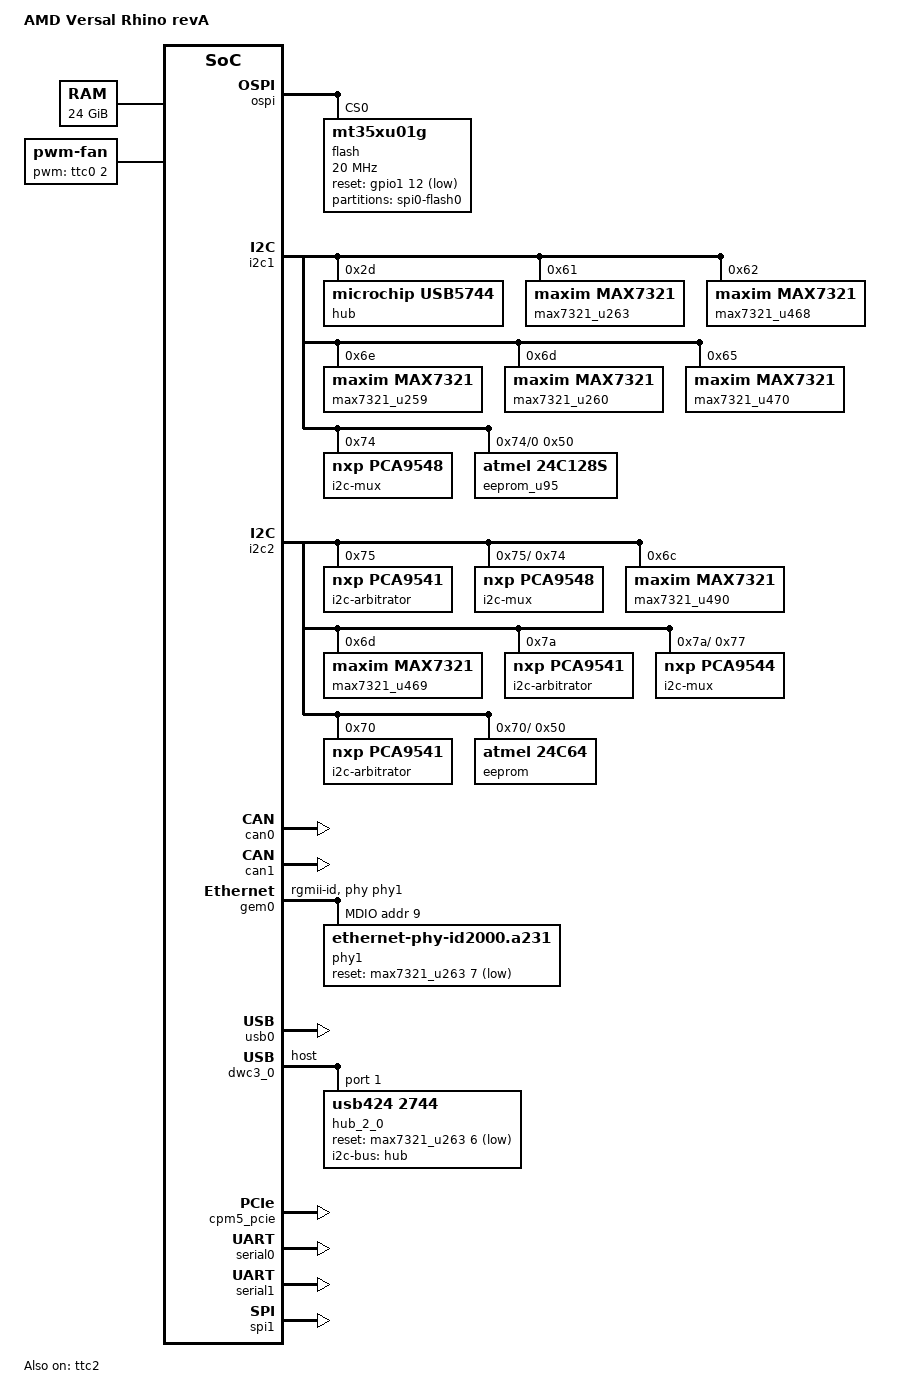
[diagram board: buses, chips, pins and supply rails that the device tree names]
// SPDX-License-Identifier: GPL-2.0
/*
 * dts file for AMD Versal Rhino revA
 *
 * (C) Copyright 2024, Advanced Micro Devices, Inc
 *
 * Michal Simek <michal.simek@amd.com>
 */

#include <dt-bindings/gpio/gpio.h>
#include "versal.dtsi"
#include "versal-clk.dtsi"

/ {
	compatible = "amd,versal-rhino-revA", "xlnx,versal";
	model = "AMD Versal Rhino revA";

	memory: memory@0 {
		device_type = "memory";
		reg = <0 0 0 0x80000000>, <0x500 0x80000000 0x1 0x80000000>, <0x580 0 0x4 0>; /* 24GB */
	};

	chosen {
		bootargs = "console=ttyAMA0 earlycon=pl011,mmio32,0xFF000000,115200n8";
		stdout-path = "serial0:115200";
	};

	aliases {
		serial0 = &serial0;
		serial1 = &serial1;
		ethernet0 = &gem0;
		i2c1 = &i2c1;
		i2c2 = &i2c2;
		spi0 = &ospi;
		usb0 = &usb0;
	};

	pwm-fan {
		compatible = "pwm-fan";
		status = "okay";
		pwms = <&ttc0 2 40000 0>;
	};
};

&ospi { /* PMC MIO0-10, 12, U43 MT35XU01G */
	status = "okay";
	bus-num = <2>;
	num-cs = <1>;
	#stream-id-cells = <1>;
	#address-cells = <1>;
	#size-cells = <0>;

	flash@0 {
		compatible = "mt35xu01g", "micron,m25p80", "jedec,spi-nor";
		reg = <0>;
		#address-cells = <1>;
		#size-cells = <1>;
		cdns,read-delay = <0>;
		cdns,tshsl-ns = <0>;
		cdns,tsd2d-ns = <0>;
		cdns,tchsh-ns = <1>;
		cdns,tslch-ns = <1>;
		spi-tx-bus-width = <8>;
		spi-rx-bus-width = <8>;
		spi-max-frequency = <20000000>;
		no-wp;
		reset-gpios = <&gpio1 12 GPIO_ACTIVE_LOW>;
		partition@0 {
			label = "spi0-flash0";
			reg = <0 0x8000000>;
		};
	};
};

/* lpd i2c1 */
&i2c1 { /* PMC_MIO 32-33 */
	status = "okay";

	hub: usb-hub@2d {
		compatible = "microchip,usb5744";
		reg = <0x2d>;
	};

	max7321_u263: gpio@61 { /* u263 */
		compatible = "maxim,max7321";
		reg = <0x61>;
		gpio-controller; /* interrupt connected to APU_INT shared line */
		#gpio-cells = <2>;
		gpio-line-names = "PCI_SWITCH_RESET_N", "PCI_SWITCH_FATAL_ERROR_N", "PCIE_SWITCH_I2C_SMBUS_CFG", "SD_CTRLR_RESET_B", /* 0 - 3 */
				"VE_NSW_RST_B", "ADSP_HWRST_B", "USB_HUB_RESET", "LPMIO_RGMII_PHYRST_B"; /* 4 - 7 */
	};

	max7321_u468: gpio@62 { /* u468 */
		compatible = "maxim,max7321";
		reg = <0x62>;
		gpio-controller; /* interrupt connected to APU_INT shared line */
		#gpio-cells = <2>;
		gpio-line-names = "5SPHY_VE10G2_SPEED0", "5SPHY_VE10G2_SPEED1", "5SPHY_VE10G3_SPEED0", "5SPHY_VE10G3_SPEED1", /* 0 - 3 */
				  "5SPHY_P12NSW_SPEED0", "5SPHY_P12NSW_SPEED1", "5SPHY_P13NSW_SPEED0", "5SPHY_P13NSW_SPEED1"; /* 4 - 7 */
	};

	max7321_u259: gpio@6e { /* u259 */
		compatible = "maxim,max7321";
		reg = <0x6e>;
		gpio-controller; /* interrupt connected to APU_INT shared line */
		#gpio-cells = <2>;
		gpio-line-names = "FMCP1_FMC_PRSNT_M2C", "FMCP1_FMCP_PRSNT_M2C", "CANFD0_nSTB", "CANFD1_nSTB", /* 0 - 3 */
				  "A2B_VE0_GPIO7", "A2B_VE1_GPIO7", "NSW_INTR_B", "NSW_RSTOUT_B"; /* 4 - 7 */
	};

	max7321_u260: gpio@6d { /* u260 */
		compatible = "maxim,max7321";
		reg = <0x6d>;
		gpio-controller; /* interrupt connected to APU_INT shared line */
		#gpio-cells = <2>;
		gpio-line-names = "M.2_2230_CLK_REQ", "M.2_2230_PCI_WAKE", "M.2_2230_PCIE_RST", "M.2_2230_BT_DISABLE", /* 0 - 3 */
				  "M.2_2230_WIFI_DISABLE", "WLAN_WIFI_RST", "M.2_I2C_ALERT", "VE_M.2_2230_UART_WAKE"; /* 4 - 7 */
	};

	max7321_u470: gpio@65 { /* u470 */
		compatible = "maxim,max7321";
		reg = <0x65>;
		gpio-controller; /* interrupt connected to APU_INT shared line */
		#gpio-cells = <2>;
		gpio-line-names = "M.2_2280_CLK_REQ", "M.2_2280_PCI_WAKE", "M.2_2280_PCIE_RST", "OCULINK_CR_PRSNT", /* 0 - 3 */
				  "OCULINK_PCIE_RST", "OCULINK_WAKE", "OCULINK_BT_TYPE", "OCULINK_VSP_1"; /* 4 - 7 */
	};

	i2c-mux@74 { /* u257 */
		compatible = "nxp,pca9548";
		#address-cells = <1>;
		#size-cells = <0>;
		reg = <0x74>;
		/* reset-gpios = <&gpio SYSCTLR_IIC_MUX0_RESET_B GPIO_ACTIVE_HIGH>; */
		i2c@0 {
			#address-cells = <1>;
			#size-cells = <0>;
			reg = <0>;
			/* 0x5b TMDS1204RNOR u76 */
			/* 0x6c 8t49n241 u94 */

			eeprom_u95: eeprom@50 { /* u95 */
				compatible = "atmel,24c128S";
				reg = <0x50>;
			};
		};
		i2c@1 {
			#address-cells = <1>;
			#size-cells = <0>;
			reg = <1>;
			/* FMC */
		};
		i2c@2 {
			#address-cells = <1>;
			#size-cells = <0>;
			reg = <2>;
			/* DISP_CON3_TOUCH */
		};
		/* NC 3-8 */
	};

	/* 0x38 - PEX 8724 U27C */
};

/* pmc i2c */
&i2c2 { /* PMC_MIO 50-51 */
	status = "okay";
	
	i2c-arbitrator@75 { /* u261 */
		compatible = "nxp,pca9541";
		reg = <0x75>;

		i2c-arb {
			#address-cells = <1>;
			#size-cells = <0>;

			/* 0x42 ina237a u459 */

			i2c-mux@74 { /* u262 */
				compatible = "nxp,pca9548";
				#address-cells = <1>;
				#size-cells = <0>;
				reg = <0x74>;
				i2c@0 {
					#address-cells = <1>;
					#size-cells = <0>;
					reg = <0>;
					/* apu_pmbus */
					/* u206 mpq2286 */
					/* u448 mpq2286 0x4 */
					/* u488 mpq2286 0x5 */
					/* u406 mpq29125 0x11 */
				};
				i2c@1 {
					#address-cells = <1>;
					#size-cells = <0>;
					reg = <1>;
					/* apu_seq_mon */
					/* u393 mpq79700 0x3d */
					/* u394 mpq79500 0x34 */
				};
				i2c@2 {
					#address-cells = <1>;
					#size-cells = <0>;
					reg = <2>;
					/* ver_pmbus */
					/* u426 mpq72963 0x9 */
					/* u447 mpq2283 0x3 */
					/* u442 mpq2286 0x8 */
				};
				i2c@3 {
					#address-cells = <1>;
					#size-cells = <0>;
					reg = <3>;
					/* ver_seq_mon */
					/* u395 mpq79700 0x3c */
					/* u396 mpq79500 0x35 */
				};
				i2c@4 {
					#address-cells = <1>;
					#size-cells = <0>;
					reg = <4>;
					/* apu_sid */
					/* u2 - ryzen */
				};
				/* NC 5 - 7 */
			};
		};
	};

	max7321_u490: gpio@6c { /* u490 */
		compatible = "maxim,max7321";
		reg = <0x6c>;
		gpio-controller; /* interrupt connected to I2C_RPU_INT shared line */
		#gpio-cells = <2>;
		gpio-line-names = "APU_PCIE_WAKE", "APU_PROCHOT_L", "APU_MCU_ALERT_L", "APU_SYS_RST_L", /* 0 - 3 */
				  "APU_KBRST_L", "APU_PWR_GD", "VER_SEQ_MCU_ALERT_L", "APU_SEQ_MCU_ALERT_L"; /* 4 - 7 */
	};


	max7321_u469: gpio@6d { /* u469 */
		compatible = "maxim,max7321";
		reg = <0x6d>;
		gpio-controller; /* interrupt connected to I2C_RPU_INT shared line */
		#gpio-cells = <2>;
		gpio-line-names = "MCU_VER_SLP_L", "APU_BUF_SLP_S5_L", "APU_BUF_SLP_S3_L", "VE_FTDI_RESET_N", /* 0 - 3 */
				  "NSW_SUBSYSTEM_PGD", "AUDIO_SUBSYSTEM_PGD", "", ""; /* 4 - 7 */
	};
	
	/* 0x9 - renesas,rc21008b u132 */
	/* 0x10 - renesas,rc21008b u131 */

	i2c-arbitrator@7a { /* u288 */
		compatible = "nxp,pca9541";
		reg = <0x7a>;

		i2c-arb {
			#address-cells = <1>;
			#size-cells = <0>;

			i2c-mux@77 { /* u81 */
				compatible = "nxp,pca9544";
				#address-cells = <1>;
				#size-cells = <0>;
				reg = <0x77>;
				/* NC 0 */
				i2c@1 {
					#address-cells = <1>;
					#size-cells = <0>;
					reg = <1>;
					/* disp_con3 */
				};
				i2c@2 {
					#address-cells = <1>;
					#size-cells = <0>;
					reg = <2>;
					/* disp_con1 */
				};
				i2c@3 {
					#address-cells = <1>;
					#size-cells = <0>;
					reg = <3>;
					/* disp_con2 */
				};
			};
		};
	};

	i2c-arbitrator@70 { /* u162 */
		compatible = "nxp,pca9541";
		reg = <0x70>;

		i2c-arb {
			#address-cells = <1>;
			#size-cells = <0>;

			eeprom@50 { /* u163 */
				compatible = "atmel,24c64";
				reg = <0x50>;
			};
		};
	};
};

&can0 { /* PMC MIO46-47 */
	status = "okay";
};

&can1 { /* PS MIO16-17 */
	status = "okay";
};

&gem0 { /* LPD_MIO0-11/24/25 */
	status = "okay";
	phy-handle = <&phy1>;
	phy-mode = "rgmii-id";
	mdio: mdio {
		#address-cells = <1>;
		#size-cells = <0>;

		phy1: ethernet-phy@9 { /* u198 */
			#phy-cells = <1>;
			compatible = "ethernet-phy-id2000.a231";
			reg = <9>;
			ti,rx-internal-delay = <0xb>;
			ti,tx-internal-delay = <0xa>;
			ti,fifo-depth = <1>;
			ti,dp83867-rxctrl-strap-quirk;
			reset-assert-us = <100>;
			reset-deassert-us = <280>;
			reset-gpios = <&max7321_u263 7 GPIO_ACTIVE_LOW>;
		};
	};
};

&usb0 { /* PMC_MIO13_500 - PMC_MIO25 USB 2.0 */
	status = "okay";
};

&dwc3_0 { /* USB 2.0 host */
	status = "okay";
	dr_mode = "host";
	maximum-speed = "high-speed";
	snps,dis_u2_susphy_quirk;
	snps,dis_u3_susphy_quirk;
	snps,usb3_lpm_capable;
	#address-cells = <1>;
	#size-cells = <0>;

	/* 2.0 hub on port 1 */
	hub_2_0: hub@1 {
		compatible = "usb424,2744";
		reg = <1>;
		i2c-bus = <&hub>; 
		reset-gpios = <&max7321_u263 6 GPIO_ACTIVE_LOW>;
	};
	/* Also 2244 for sd card */
};

/* PCIE */
&cpm5_pcie {
	status = "okay";
	ranges = <0x2000000 0x00 0xe8000000 0x00 0xe8000000 0x00 0x8000000 0x43000000 0xa0 0x00 0xa0 0x00 0x00 0x80000000>;
	reg = <0x07 0x00 0x00 0x10000000 0x00 0xfcdd0000 0x00 0x1000 0x00 0xfcea0000 0x00 0x1000000>;
};

&serial0 { /* PMC_MIO42/43 */
	status = "okay";
};

&serial1 { /* PS_MIO12/13 */
	status = "okay";
};

&spi1 { /* PS_MIO18-23 */
	status = "okay";
};

&ttc2 { /* PMC_MIO 45 */
	status = "okay";
};

&sysmon0 { /* i2c at PMC_MIO 35-37 - means external */
	status = "disabled";
};

&gpio0 {
	status = "okay";
};

&gpio1 {
	status = "okay";
};
